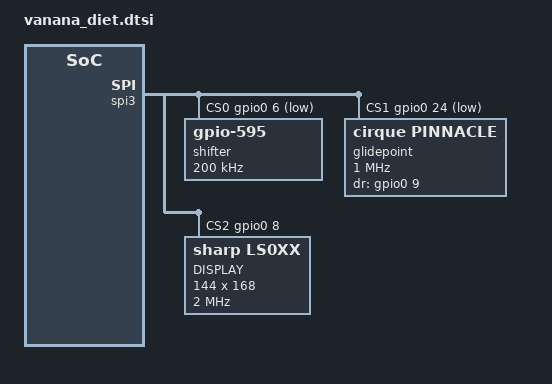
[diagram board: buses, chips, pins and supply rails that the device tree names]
#include <dt-bindings/zmk/matrix_transform.h>
#include <dt-bindings/zmk/input_transform.h>
#include <input/processors.dtsi>

&spi3 {
    compatible = "nordic,nrf-spim";
    status = "okay";

    pinctrl-0 = <&spi3_default>;
    pinctrl-1 = <&spi3_sleep>;
    pinctrl-names = "default", "sleep";

    cs-gpios = <&gpio0 6 GPIO_ACTIVE_LOW>, <&gpio0 24 GPIO_ACTIVE_LOW>,  <&gpio0 8 GPIO_ACTIVE_HIGH>;
    
    shifter: 595@0 {
        compatible = "zmk,gpio-595";
        status = "okay";
        gpio-controller;
        spi-max-frequency = <200000>;
        reg = <0>;
        #gpio-cells = <2>;
        ngpios = <8>;
    };

	glidepoint: glidepoint@1 {
        compatible = "cirque,pinnacle";
        reg = <1>;
        spi-max-frequency = <1000000>;
        status = "okay";
        dr-gpios = <&gpio0 9 (GPIO_ACTIVE_HIGH)>;

        sensitivity = "4x";
        sleep;
        no-taps;
    };

    ls0xx: ls0xx@2 {
        status = "okay";
		compatible = "sharp,ls0xx";
        label = "DISPLAY";
		spi-max-frequency = <2000000>;
		reg = <2>;
            width = <144>;
            height = <168>;
		// disp-en-gpios = <&gpio0 23 GPIO_ACTIVE_HIGH>;
	};
};

/ {
    glidepoint_listener {
        compatible = "zmk,input-listener";
        device = <&glidepoint>;
		status = "okay";
        input-processors = <&zip_xy_transform (INPUT_TRANSFORM_Y_INVERT)>, <&zip_xy_scaler 2 2>;

        scroller {
            layers = <3>;
            input-processors = <&zip_xy_to_scroll_mapper>;
            process-next;
        };
    };
};
